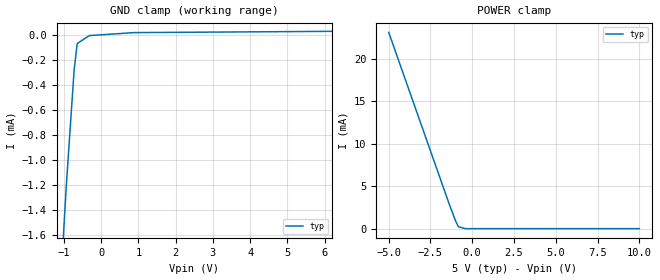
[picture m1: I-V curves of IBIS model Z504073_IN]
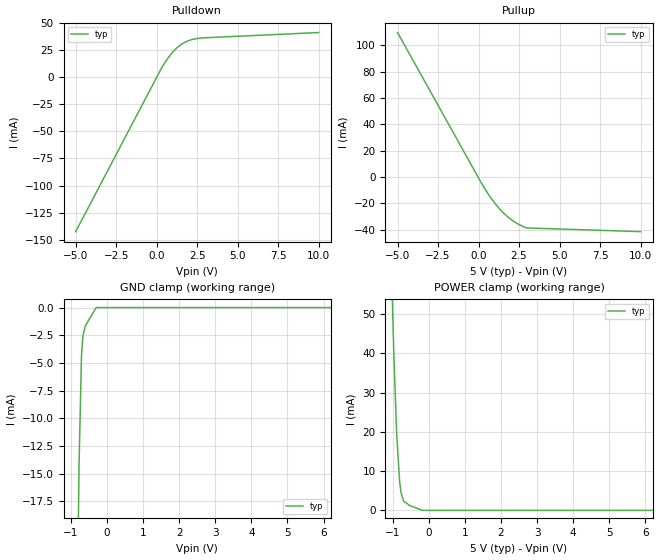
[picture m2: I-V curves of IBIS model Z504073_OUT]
| YOU ARE ONLY AUTHORIZED TO USE THIS SOFTWARE
| ACCORDING TO LICENSOR'S LICENSE RESTRICTIONS.
[IBIS Ver] 3.1
[File Name] mc54hc165j.ibs
[File Rev] 2.0
[Source] Measured and created by ICX Technology
[Date] Friday 7/14/00 9:08:06 AM
[Copyright]
| (C) COPYRIGHT 1993-2000
| MENTOR GRAPHICS CORPORATION
| ICX STANDARD LIBRARY, ICX PROJECT MODELING,
| ICX CUSTOM MODELING, ICX VENDOR MODEL
| ALL RIGHTS RESERVED.
| THE FOLLOWING ARE TRADEMARKS OR SERVICE MARKS OF
| MENTOR GRAPHICS CORPORATION:ICX (R), ICX STANDARD
| LIBRARY(R), ICX PROJECT MODELING(R), ICX CUSTOM
| MODELING(R), qualityIBIS(TM), MODELVIEWER(TM),
| AND MODELEDITOR(TM)
| ALL COPIES OF SOFTWARE, INCLUDING BUT NOT LIMITED TO
| ANY MODIFICATIONS, ENHANCEMENTS OR DERIVATIVE WORKS,
| MUST CONTAIN ALL MENTOR GRAPHICS CORPORATION'S
| NOTICES AND LEGENDS, INCLUDING THOSE EMBEDDED IN
| SOFTWARE AND THOSE AFFIXED TO SOFTWARE MEDIUM
| AND CONTAINER, AS RECEIVED FROM MENTOR GRAPHICS
| CORPORATION.
|  ZAP Model Builder 2.7
[Component] MC54HC165J
[Manufacturer] OnSemiconductor
[Package]
| variable   typ   min   max
R_pkg  .212ohms NA NA
L_pkg  4.758nH NA NA
C_pkg  1.944pF NA NA
[Pin] signal_name  model_name  R_pin  L_pin C_pin
1 SH_LD Z504073_IN .224 7.258n 2.683p
2 CLK Z504073_IN .216 5.258n 2.19p
3 E Z504073_IN .208 3.758n 1.697p
4 F Z504073_IN .2 2.758n 1.204p
5 G Z504073_IN .2 2.758n 1.204p
6 H Z504073_IN .208 3.758n 1.697p
7 _QH Z504073_OUT .216 5.258n 2.19p
8 GND GND .224 7.258n 2.683p
9 QH Z504073_OUT .224 7.258n 2.683p
10 SER Z504073_IN .216 5.258n 2.19p
11 A Z504073_IN .208 3.758n 1.697p
12 B Z504073_IN .2 2.758n 1.204p
13 C Z504073_IN .2 2.758n 1.204p
14 D Z504073_IN .208 3.758n 1.697p
15 CLK_INH Z504073_IN .216 5.258n 2.19p
16 VCC POWER .224 7.258n 2.683p
| Models and submodels in the file (2): Z504073_IN (Input), Z504073_OUT (Output)
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| (C) COPYRIGHT 1993-2000
| MENTOR GRAPHICS CORPORATION
| ICX STANDARD LIBRARY, ICX PROJECT MODELING,
| ICX CUSTOM MODELING, ICX VENDOR MODEL
| ALL RIGHTS RESERVED.
| THE FOLLOWING ARE TRADEMARKS OR SERVICE MARKS OF
| MENTOR GRAPHICS CORPORATION:ICX (R), ICX STANDARD
| LIBRARY(R), ICX PROJECT MODELING(R), ICX CUSTOM
| MODELING(R), qualityIBIS(TM), MODELVIEWER(TM),
| AND MODELEDITOR(TM)
| ALL COPIES OF SOFTWARE, INCLUDING BUT NOT LIMITED TO
| ANY MODIFICATIONS, ENHANCEMENTS OR DERIVATIVE WORKS,
| MUST CONTAIN ALL MENTOR GRAPHICS CORPORATION'S
| NOTICES AND LEGENDS, INCLUDING THOSE EMBEDDED IN
| SOFTWARE AND THOSE AFFIXED TO SOFTWARE MEDIUM
| AND CONTAINER, AS RECEIVED FROM MENTOR GRAPHICS
| CORPORATION.
| Model Application Version 1.89 2/18/99.
[Model] Z504073_IN
Model_type Input
Vinl = 1.000V
Vinh = 3.500V
C_comp 4.000pF NA NA
| variable typ   min   max
[Voltage Range] 5.000V NA NA
[GND Clamp Reference] 0.000V NA NA
[POWER Clamp Reference] 5.000V NA NA
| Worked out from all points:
|   GND clamp passes 1 mA (typ) near -0.89 V on its own axis
[GND Clamp]
-5V       -23.16mA   NA         NA
-1.274V   -2.931mA   NA         NA
-937.1mV  -1.204mA   NA         NA
-727.2mV  -281.7uA   NA         NA
-644.6mV  -70.92uA   NA         NA
-322.3mV  -6.907uA   NA         NA
885.1mV   16.84uA    NA         NA
10V       34.32uA    NA         NA
[POWER Clamp]
-5V       23.1mA     NA         NA
-1.398V   3.003mA    NA         NA
-1.001V   918.4uA    NA         NA
-829mV    229.2uA    NA         NA
-414.5mV  0A         NA         NA
10V       0A         NA         NA
| (C) COPYRIGHT 1993-2000
| MENTOR GRAPHICS CORPORATION
| ICX STANDARD LIBRARY, ICX PROJECT MODELING,
| ICX CUSTOM MODELING, ICX VENDOR MODEL
| ALL RIGHTS RESERVED.
| THE FOLLOWING ARE TRADEMARKS OR SERVICE MARKS OF
| MENTOR GRAPHICS CORPORATION:ICX (R), ICX STANDARD
| LIBRARY(R), ICX PROJECT MODELING(R), ICX CUSTOM
| MODELING(R), qualityIBIS(TM), MODELVIEWER(TM),
| AND MODELEDITOR(TM)
| ALL COPIES OF SOFTWARE, INCLUDING BUT NOT LIMITED TO
| ANY MODIFICATIONS, ENHANCEMENTS OR DERIVATIVE WORKS,
| MUST CONTAIN ALL MENTOR GRAPHICS CORPORATION'S
| NOTICES AND LEGENDS, INCLUDING THOSE EMBEDDED IN
| SOFTWARE AND THOSE AFFIXED TO SOFTWARE MEDIUM
| AND CONTAINER, AS RECEIVED FROM MENTOR GRAPHICS
| CORPORATION.
| Model Application Version 1.89 2/18/99.
[Model] Z504073_OUT
Model_type Output
Vref=0.000V
Rref=500.0Mohms
Cref=50.00pF
Vmeas=2.500V
C_comp 8.000pF NA NA
| variable typ   min   max
[Voltage Range] 5.000V NA NA
[POWER Clamp Reference] 5.000V NA NA
[Pullup Reference] 5.000V NA NA
[Pulldown Reference] 0.000V NA NA
[GND Clamp Reference] 0.000V NA NA
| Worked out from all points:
|   slope of the pulldown table from 0 to 0.75 V, typ, clamps not added: 39.8 ohm
|   slope of the pullup table from 0 to 0.75 V, typ, clamps not added: 50.2 ohm
|   POWER clamp passes 1 mA (typ) near -0.46 V on its own axis
[GND Clamp]
-5V       -1.199A    NA         NA
-769.7mV  -14.08mA   NA         NA
-703.1mV  -4.38mA    NA         NA
-663.6mV  -2.547mA   NA         NA
-588.4mV  -1.601mA   NA         NA
-294.2mV  0A         NA         NA
10V       0A         NA         NA
[Pulldown]
-5V       -142.6mA   NA         NA
278.5mV   7.881mA    NA         NA
748.3mV   18.73mA    NA         NA
1.274V    27.51mA    NA         NA
1.529V    30.5mA     NA         NA
1.924V    33.54mA    NA         NA
2.721V    36.28mA    NA         NA
10V       41.29mA    NA         NA
[Pullup]
-5V       109.7mA    NA         NA
200mV     -5.154mA   NA         NA
665mV     -14.26mA   NA         NA
1.079V    -21.11mA   NA         NA
1.827V    -30.56mA   NA         NA
2.478V    -36mA      NA         NA
2.934V    -38.7mA    NA         NA
10V       -41.53mA   NA         NA
[POWER Clamp]
-5V       1.448A     NA         NA
-967mV    39.75mA    NA         NA
-888mV    19.62mA    NA         NA
-806mV    7.328mA    NA         NA
-770mV    4.613mA    NA         NA
-693mV    2.325mA    NA         NA
-518mV    1.171mA    NA         NA
-366mV    690.2uA    NA         NA
-183mV    0A         NA         NA
10V       0A         NA         NA
[Ramp]
| variable typ min max
dV/dt_r 2.755/1.469n NA NA
dV/dt_f 2.755/1.121n NA NA
R_load = 500.0Ohms
